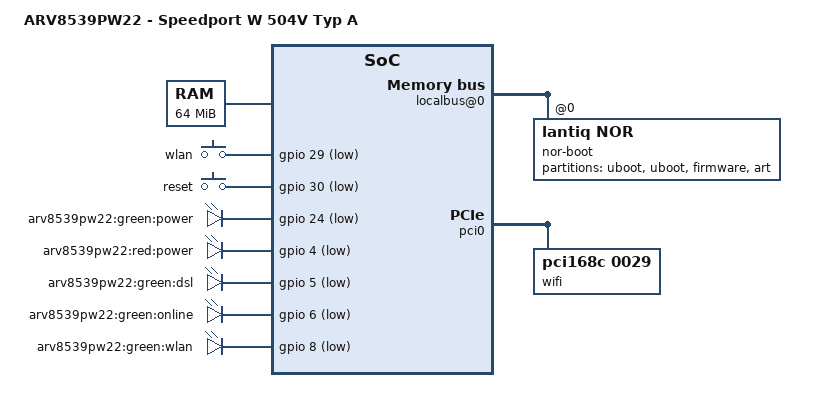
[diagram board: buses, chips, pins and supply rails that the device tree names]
/dts-v1/;

#include "danube.dtsi"

#include <dt-bindings/input/input.h>

/ {
	model = "ARV8539PW22 - Speedport W 504V Typ A";

	chosen {
		bootargs = "console=ttyLTQ0,115200";
	};

	aliases {
		led-boot = &power_green;
		led-failsafe = &power_red;
		led-running = &power_green;

		led-dsl = &dsl_green;
		led-internet = &online_green;
		led-wifi = &wireless_green;
	};

	memory@0 {
		reg = <0x0 0x4000000>;
	};

	sram@1F000000 {
		vmmc@107000 {
			status = "okay";
			gpios = <&gpio 31 GPIO_ACTIVE_HIGH>;
		};
	};

	fpi@10000000 {
		localbus@0 {
			nor-boot@0 {
				compatible = "lantiq,nor";
				bank-width = <2>;
				reg = <0 0x0 0x800000>;
				#address-cells = <1>;
				#size-cells = <1>;

				partitions {
					compatible = "fixed-partitions";
					#address-cells = <1>;
					#size-cells = <1>;

					partition@0 {
						label = "uboot";
						reg = <0x00000 0x30000>;	/* 192 KiB */
						read-only;
					};

					partition@30000 {
						label = "uboot";
						reg = <0x30000 0x10000>;	/* 64 KiB */
						read-only;
					};

					partition@40000 {
						label = "firmware";
						reg = <0x40000 0x7B0000>;       /* 7872 KiB */
					};

					art: partition@7F0000 {
						label = "art";
						reg = <0x7F0000 0x10000>;       /* 64 KiB*/
						read-only;
					};
				};
			};
		};

		gpio: pinmux@E100B10 {
			pinctrl-names = "default";
			pinctrl-0 = <&state_default>;

			state_default: pinmux {
				pci_in {
					lantiq,groups = "req1";
					lantiq,function = "pci";
					lantiq,open-drain = <1>;
					lantiq,pull = <2>;
					lantiq,output = <0>;
				};
				pci_out {
					lantiq,groups = "gnt1";
					lantiq,function = "pci";
					lantiq,output = <1>;
				};
				pci_rst {
					lantiq,pins = "io21";
					lantiq,pull = <2>;
					lantiq,output = <1>;
				};
				relay {
					lantiq,pins = "io31";
					lantiq,output = <1>;
				};
			};
		};

		etop@E180000 {
			phy-mode = "mii";
			mtd-mac-address = <&art 0x16>;
		};

		ifxhcd@E101000 {
			status = "okay";
			gpios = <&gpio 14 GPIO_ACTIVE_HIGH>;
			lantiq,portmask = <0x3>;
		};
	};

	gpio-keys-polled {
		compatible = "gpio-keys-polled";
		#address-cells = <1>;
		#size-cells = <0>;
		poll-interval = <100>;

		wlan {
			label = "wlan";
			gpios = <&gpio 29 GPIO_ACTIVE_LOW>;
			linux,code = <KEY_WPS_BUTTON>;
		};
		reset {
			label = "reset";
			gpios = <&gpio 30 GPIO_ACTIVE_LOW>;
			linux,code = <KEY_RESTART>;
		};
		/* key DECT is missing */
	};

	gpio-leds {
		compatible = "gpio-leds";

		power_green: power-green {
			label = "arv8539pw22:green:power";
			gpios = <&gpio 24 GPIO_ACTIVE_LOW>;
			default-state = "keep";
		};
		power_red: power-red {
			label = "arv8539pw22:red:power";
			gpios = <&gpio 4 GPIO_ACTIVE_LOW>;
		};

		dsl_green: dsl-green {
			label = "arv8539pw22:green:dsl";
			gpios = <&gpio 5 GPIO_ACTIVE_LOW>;
		};

		online_green: online-green {
			label = "arv8539pw22:green:online";
			gpios = <&gpio 6 GPIO_ACTIVE_LOW>;
		};

		wireless_green: wireless-green {
			label = "arv8539pw22:green:wlan";
			gpios = <&gpio 8 GPIO_ACTIVE_LOW>;
		};
		/*
			telefonie green is missing
		*/
	};
};

&pci0 {
	status = "okay";
	gpio-reset = <&gpio 21 GPIO_ACTIVE_HIGH>;

	wifi@168c,0029 {
		compatible = "pci168c,0029";
		reg = <0x7000 0 0 0 0>;
		qca,no-eeprom; /* load from ath9k-eeprom-pci-0000:00:0e.0.bin */
		mtd-mac-address = <&art 0x16>;
		mtd-mac-address-increment = <1>;
	};
};
